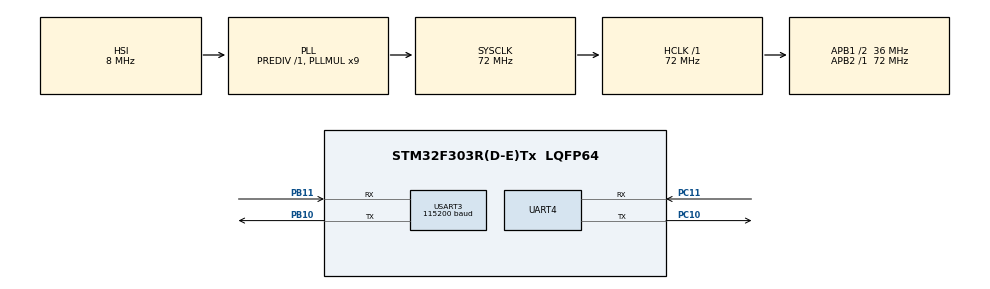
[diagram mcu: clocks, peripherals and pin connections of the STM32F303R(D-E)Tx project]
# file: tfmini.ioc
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Dma.Request0=UART4_RX
Dma.Request1=USART3_RX
Dma.UART4_RX.0.Direction=DMA_PERIPH_TO_MEMORY
Dma.UART4_RX.0.Instance=DMA2_Channel3
Dma.UART4_RX.0.MemDataAlignment=DMA_MDATAALIGN_BYTE
Dma.UART4_RX.0.MemInc=DMA_MINC_ENABLE
Dma.UART4_RX.0.Mode=DMA_NORMAL
Dma.UART4_RX.0.PeriphDataAlignment=DMA_PDATAALIGN_BYTE
Dma.UART4_RX.0.PeriphInc=DMA_PINC_DISABLE
Dma.UART4_RX.0.Priority=DMA_PRIORITY_MEDIUM
Dma.USART3_RX.1.Direction=DMA_PERIPH_TO_MEMORY
Dma.USART3_RX.1.Instance=DMA1_Channel3
Dma.USART3_RX.1.MemDataAlignment=DMA_MDATAALIGN_BYTE
Dma.USART3_RX.1.MemInc=DMA_MINC_ENABLE
Dma.USART3_RX.1.Mode=DMA_NORMAL
Dma.USART3_RX.1.PeriphDataAlignment=DMA_PDATAALIGN_BYTE
Dma.USART3_RX.1.PeriphInc=DMA_PINC_DISABLE
Dma.USART3_RX.1.Priority=DMA_PRIORITY_MEDIUM
Mcu.Family=STM32F3
Mcu.Name=STM32F303R(D-E)Tx
Mcu.Package=LQFP64
NVIC.DMA1_Channel3_IRQn=true\:0\:0\:false\:false\:true\:false\:true\:true
NVIC.DMA2_Channel3_IRQn=true\:0\:0\:false\:false\:true\:false\:true\:true
NVIC.PriorityGroup=NVIC_PRIORITYGROUP_0
PA13.GPIO_Label=TMS
PA13.Mode=Serial_Wire
PA13.Signal=SYS_JTMS-SWDIO
PA14.GPIO_Label=TCK
PA14.Mode=Serial_Wire
PA14.Signal=SYS_JTCK-SWCLK
PB10.Mode=Asynchronous
PB10.Signal=USART3_TX
PB11.Mode=Asynchronous
PB11.Signal=USART3_RX
PB3.GPIO_Label=SWO
PB3.Signal=SYS_JTDO-TRACESWO
PC10.Mode=Asynchronous
PC10.Signal=UART4_TX
PC11.Mode=Asynchronous
PC11.Signal=UART4_RX
PC14-OSC32_IN.Mode=LSE-External-Oscillator
PC14-OSC32_IN.Signal=RCC_OSC32_IN
PC15-OSC32_OUT.Mode=LSE-External-Oscillator
PC15-OSC32_OUT.Signal=RCC_OSC32_OUT
PF0-OSC_IN.Mode=HSE-External-Clock-Source
PF0-OSC_IN.Signal=RCC_OSC_IN
PF1-OSC_OUT.Signal=RCC_OSC_OUT
ProjectManager.HeapSize=0x200
ProjectManager.StackSize=0x400
ProjectManager.TargetToolchain=Makefile
RCC.AHBFreq_Value=72000000
RCC.APB1CLKDivider=RCC_HCLK_DIV2
RCC.APB1Freq_Value=36000000
RCC.APB1TimFreq_Value=72000000
RCC.APB2Freq_Value=72000000
RCC.APB2TimFreq_Value=72000000
RCC.CortexFreq_Value=72000000
RCC.HCLKFreq_Value=72000000
RCC.HSE_VALUE=8000000
RCC.HSI_VALUE=8000000
RCC.PLLM=8
RCC.PLLMUL=RCC_PLL_MUL9
RCC.PLLN=336
RCC.PLLP=RCC_PLLP_DIV4
RCC.PLLQ=7
RCC.RCC_PLLsource_Clock_Source_FROM_HSE=RCC_HSE_PREDIV_DIV2
RCC.SYSCLKFreq_VALUE=72000000
RCC.SYSCLKSourceVirtual=RCC_SYSCLKSOURCE_PLLCLK
RCC.USBFreq_Value=72000000
USART3.BaudRate=115200
USART3.VirtualMode-Asynchronous=VM_ASYNC
board=NUCLEO-F303RE

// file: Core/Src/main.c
/* USER CODE BEGIN Header */
/**
  ******************************************************************************
  * @file           : main.c
  * @brief          : Main program body
  ******************************************************************************
  * @attention
  *
  * Copyright (c) 2022 STMicroelectronics.
  * All rights reserved.
  *
  * This software is licensed under terms that can be found in the LICENSE file
  * in the root directory of this software component.
  * If no LICENSE file comes with this software, it is provided AS-IS.
  *
  ******************************************************************************
  */
/* USER CODE END Header */
#include "main.h"
#include "dma.h"
#include "usart.h"
#include "gpio.h"

/* USER CODE BEGIN Includes */
#include "stdio.h"
#include "stdbool.h"
/* USER CODE END Includes */

void SystemClock_Config(void);

/* USER CODE BEGIN 0 */
static uint8_t tfmini_left_rawserial[9];
static uint8_t tfmini_right_rawserial[9];
static bool tfmini_left_hasdata = false;
static bool tfmini_right_hasdata = false;
static int tfmini_left_receivedtime = 0;
static int tfmini_right_receivedtime = 0;
static int tfmini_left_data[2];
static int tfmini_right_data[2];

bool decode_tfmini_packet(uint8_t *raw,int *decoded_data){
  decoded_data[0] = 0;
  decoded_data[1] = 0;
  int checksum = 0;
  if( raw[0] == 0x59 && raw[1] == 0x59 ){
    for(int i = 0; i < 8 ; ++i ){
      checksum += raw[i];
    }
    if( raw[8] == (checksum % 256) ){
      decoded_data[0] = raw[2] + raw[3] * 256;
      decoded_data[1] = raw[4] + raw[5] * 256;
      return true;
    }
  }
  return false;
}

void HAL_UART_RxHalfCpltCallback(UART_HandleTypeDef *huart)
{
  HAL_GPIO_TogglePin (GPIOA, GPIO_PIN_0);  // toggle PA0
}

void HAL_UART_RxCpltCallback(UART_HandleTypeDef *huart)
{
  if(huart->Instance == UART4){
    if(decode_tfmini_packet(tfmini_left_rawserial,tfmini_left_data)){
      tfmini_left_hasdata = true;
      tfmini_left_receivedtime = HAL_GetTick();
    }
    HAL_UART_Receive_DMA(&huart4, tfmini_left_rawserial, 9);
  }
  if(huart->Instance == USART3){
    if(decode_tfmini_packet(tfmini_right_rawserial,tfmini_right_data)){
      tfmini_right_hasdata = true;
      tfmini_right_receivedtime = HAL_GetTick();
    }
    HAL_UART_Receive_DMA(&huart3, tfmini_right_rawserial, 9);
  }
}
/* USER CODE END 0 */

int main(void)
{

  /* MCU Configuration--------------------------------------------------------*/

  /* Reset of all peripherals, Initializes the Flash interface and the Systick. */
  HAL_Init();

  /* Configure the system clock */
  SystemClock_Config();

  /* Initialize all configured peripherals */
  MX_GPIO_Init();
  MX_DMA_Init();
  MX_UART4_Init();
  MX_USART3_UART_Init();
  /* USER CODE BEGIN 2 */

  HAL_UART_Receive_DMA(&huart4, tfmini_left_rawserial, 9);
  HAL_UART_Receive_DMA(&huart3, tfmini_right_rawserial, 9);
  /* USER CODE END 2 */

  /* Infinite loop */
  /* USER CODE BEGIN WHILE */
  while (1)
  {
    int current = HAL_GetTick();
    if( (current - tfmini_left_receivedtime) > 100 ){
      tfmini_left_hasdata = false;
    }
    if( (current - tfmini_right_receivedtime) > 100 ){
      tfmini_right_hasdata = false;
    }
    if(tfmini_left_hasdata){
      printf("left d: %d s: %d ",tfmini_left_data[0],tfmini_left_data[1]);
    }
    if(tfmini_left_hasdata){
      printf("right d: %d s: %d ",tfmini_right_data[0],tfmini_right_data[1]);
    }

    if(tfmini_left_hasdata || tfmini_right_hasdata){
      printf("\n");
    }
    /* USER CODE END WHILE */

  }
}

void SystemClock_Config(void)
{
  RCC_OscInitTypeDef RCC_OscInitStruct = {0};
  RCC_ClkInitTypeDef RCC_ClkInitStruct = {0};
  RCC_PeriphCLKInitTypeDef PeriphClkInit = {0};

  /** Initializes the RCC Oscillators according to the specified parameters
  * in the RCC_OscInitTypeDef structure.
  */
  RCC_OscInitStruct.OscillatorType = RCC_OSCILLATORTYPE_HSI;
  RCC_OscInitStruct.HSIState = RCC_HSI_ON;
  RCC_OscInitStruct.HSICalibrationValue = RCC_HSICALIBRATION_DEFAULT;
  RCC_OscInitStruct.PLL.PLLState = RCC_PLL_ON;
  RCC_OscInitStruct.PLL.PLLSource = RCC_PLLSOURCE_HSI;
  RCC_OscInitStruct.PLL.PLLMUL = RCC_PLL_MUL9;
  RCC_OscInitStruct.PLL.PREDIV = RCC_PREDIV_DIV1;
  if (HAL_RCC_OscConfig(&RCC_OscInitStruct) != HAL_OK)
  {
    Error_Handler();
  }

  /** Initializes the CPU, AHB and APB buses clocks
  */
  RCC_ClkInitStruct.ClockType = RCC_CLOCKTYPE_HCLK|RCC_CLOCKTYPE_SYSCLK
                              |RCC_CLOCKTYPE_PCLK1|RCC_CLOCKTYPE_PCLK2;
  RCC_ClkInitStruct.SYSCLKSource = RCC_SYSCLKSOURCE_PLLCLK;
  RCC_ClkInitStruct.AHBCLKDivider = RCC_SYSCLK_DIV1;
  RCC_ClkInitStruct.APB1CLKDivider = RCC_HCLK_DIV2;
  RCC_ClkInitStruct.APB2CLKDivider = RCC_HCLK_DIV1;

  if (HAL_RCC_ClockConfig(&RCC_ClkInitStruct, FLASH_LATENCY_2) != HAL_OK)
  {
    Error_Handler();
  }
  PeriphClkInit.PeriphClockSelection = RCC_PERIPHCLK_USART3|RCC_PERIPHCLK_UART4;
  PeriphClkInit.Usart3ClockSelection = RCC_USART3CLKSOURCE_PCLK1;
  PeriphClkInit.Uart4ClockSelection = RCC_UART4CLKSOURCE_PCLK1;
  if (HAL_RCCEx_PeriphCLKConfig(&PeriphClkInit) != HAL_OK)
  {
    Error_Handler();
  }
}

void Error_Handler(void)
{
  __disable_irq();
  while (1)
  {
  }
}
